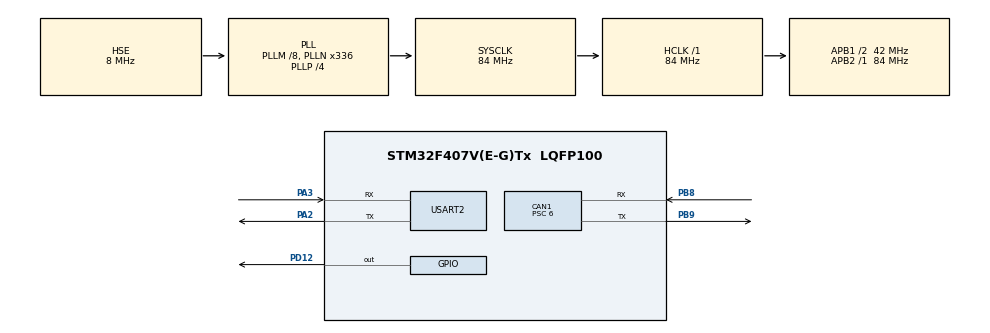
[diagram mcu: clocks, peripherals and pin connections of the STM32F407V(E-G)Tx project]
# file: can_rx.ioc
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CAN1.BS1=CAN_BS1_11TQ
CAN1.BS2=CAN_BS2_2TQ
CAN1.CalculateBaudRate=500000
CAN1.CalculateTimeBit=2000
CAN1.CalculateTimeQuantum=142.85714285714286
CAN1.NART=ENABLE
CAN1.Prescaler=6
Mcu.Family=STM32F4
Mcu.Name=STM32F407V(E-G)Tx
Mcu.Package=LQFP100
NVIC.PriorityGroup=NVIC_PRIORITYGROUP_0
PA2.Mode=Asynchronous
PA2.Signal=USART2_TX
PA3.Mode=Asynchronous
PA3.Signal=USART2_RX
PB8.Mode=CAN_Activate
PB8.Signal=CAN1_RX
PB9.Mode=CAN_Activate
PB9.Signal=CAN1_TX
PD12.Signal=GPIO_Output
PH0-OSC_IN.Mode=HSE-External-Oscillator
PH0-OSC_IN.Signal=RCC_OSC_IN
PH1-OSC_OUT.Mode=HSE-External-Oscillator
PH1-OSC_OUT.Signal=RCC_OSC_OUT
ProjectManager.HeapSize=0x200
ProjectManager.StackSize=0x400
ProjectManager.TargetToolchain=STM32CubeIDE
RCC.48MHZClocksFreq_Value=48000000
RCC.AHBFreq_Value=84000000
RCC.APB1CLKDivider=RCC_HCLK_DIV2
RCC.APB1Freq_Value=42000000
RCC.APB1TimFreq_Value=84000000
RCC.APB2Freq_Value=84000000
RCC.APB2TimFreq_Value=84000000
RCC.CortexFreq_Value=84000000
RCC.HCLKFreq_Value=84000000
RCC.HSE_VALUE=8000000
RCC.HSI_VALUE=16000000
RCC.LSE_VALUE=32768
RCC.PLLM=8
RCC.PLLN=336
RCC.PLLP=RCC_PLLP_DIV4
RCC.PLLQ=7
RCC.PLLSourceVirtual=RCC_PLLSOURCE_HSE
RCC.SYSCLKFreq_VALUE=84000000
RCC.SYSCLKSource=RCC_SYSCLKSOURCE_PLLCLK
RCC.VCOOutputFreq_Value=336000000
USART2.VirtualMode=VM_ASYNC
board=STM32F407G-DISC1

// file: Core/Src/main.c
/* USER CODE BEGIN Header */
/**
  ******************************************************************************
  * @file           : main.c
  * @brief          : Main program body
  ******************************************************************************
  * @attention
  *
  * Copyright (c) 2026 STMicroelectronics.
  * All rights reserved.
  *
  * This software is licensed under terms that can be found in the LICENSE file
  * in the root directory of this software component.
  * If no LICENSE file comes with this software, it is provided AS-IS.
  *
  ******************************************************************************
  */
/* USER CODE END Header */
#include "main.h"

/* USER CODE BEGIN Includes */
#include <stdio.h>
#include <string.h>
/* USER CODE END Includes */

CAN_HandleTypeDef hcan1;

UART_HandleTypeDef huart2;

/* USER CODE BEGIN PV */
CAN_RxHeaderTypeDef RxHeader;
uint8_t RxData[8];

CAN_FilterTypeDef CAN_Filter;

char msg[] = "CAN RX Ready\r\n";

char uartBuffer[100];

uint16_t voltageRaw;
uint16_t currentRaw;
uint16_t tempRaw;

float voltage;
float current;
float temperature;

uint8_t faultCode;
/* USER CODE END PV */

void SystemClock_Config(void);
static void MX_GPIO_Init(void);
static void MX_CAN1_Init(void);
static void MX_USART2_UART_Init(void);

int main(void)
{

  /* MCU Configuration--------------------------------------------------------*/

  /* Reset of all peripherals, Initializes the Flash interface and the Systick. */
  HAL_Init();

  /* Configure the system clock */
  SystemClock_Config();

  /* Initialize all configured peripherals */
  MX_GPIO_Init();
  MX_CAN1_Init();
  MX_USART2_UART_Init();
  /* USER CODE BEGIN 2 */
  CAN_Filter.FilterBank = 0;
  CAN_Filter.FilterMode = CAN_FILTERMODE_IDMASK;
  CAN_Filter.FilterScale = CAN_FILTERSCALE_32BIT;

  CAN_Filter.FilterIdHigh = 0x0000;
  CAN_Filter.FilterIdLow = 0x0000;

  CAN_Filter.FilterMaskIdHigh = 0x0000;
  CAN_Filter.FilterMaskIdLow = 0x0000;

  CAN_Filter.FilterFIFOAssignment = CAN_FILTER_FIFO0;
  CAN_Filter.FilterActivation = ENABLE;

  if (HAL_CAN_ConfigFilter(&hcan1, &CAN_Filter) != HAL_OK)
  {
      Error_Handler();
  }

  /************ Start CAN ************/
  if (HAL_CAN_Start(&hcan1) != HAL_OK)
  {
      Error_Handler();
  }

  /************ UART startup message ************/
  HAL_UART_Transmit(&huart2,
                    (uint8_t*)msg,
                    sizeof(msg)-1,
                    HAL_MAX_DELAY);

  /* USER CODE END 2 */

  /* Infinite loop */
  /* USER CODE BEGIN WHILE */
  while (1)
  {
	  if (HAL_CAN_GetRxFifoFillLevel(&hcan1, CAN_RX_FIFO0) > 0)
	      {
	          HAL_CAN_GetRxMessage(&hcan1,
	                               CAN_RX_FIFO0,
	                               &RxHeader,
	                               RxData);

	          /* Blink LED */
	          HAL_GPIO_TogglePin(GPIOD, GPIO_PIN_12);

	          /* Decode received CAN data */

	          voltageRaw = (RxData[0] << 8) | RxData[1];
	          currentRaw = (RxData[2] << 8) | RxData[3];
	          tempRaw    = (RxData[4] << 8) | RxData[5];

	          faultCode  = RxData[6];

	          /* Convert back to actual values */

	          voltage = voltageRaw / 100.0f;
	          current = currentRaw;
	          temperature = tempRaw / 10.0f;

	          /* Print values */

	          sprintf(uartBuffer,
	                  "Voltage: %.2f V\r\n"
	                  "Current: %.0f mA\r\n"
	                  "Temperature: %.1f C\r\n",
	                  voltage,
	                  current,
	                  temperature);

	          HAL_UART_Transmit(&huart2,
	                            (uint8_t*)uartBuffer,
	                            strlen(uartBuffer),
	                            HAL_MAX_DELAY);

	          /* Print fault */

	          switch(faultCode)
	          {
	          case 0:
	              sprintf(uartBuffer,"Fault : NORMAL\r\n\r\n");
	              break;

	          case 1:
	              sprintf(uartBuffer,"Fault : OVER VOLTAGE\r\n\r\n");
	              break;

	          case 2:
	              sprintf(uartBuffer,"Fault : UNDER VOLTAGE\r\n\r\n");
	              break;

	          case 3:
	              sprintf(uartBuffer,"Fault : OVER CURRENT\r\n\r\n");
	              break;

	          case 4:
	              sprintf(uartBuffer,"Fault : OVER TEMPERATURE\r\n\r\n");
	              break;

	          default:
	              sprintf(uartBuffer,"Fault : UNKNOWN\r\n\r\n");
	              break;
	          }

	          HAL_UART_Transmit(&huart2,
	                            (uint8_t*)uartBuffer,
	                            strlen(uartBuffer),
	                            HAL_MAX_DELAY);
	      }
    /* USER CODE END WHILE */

  }
}

void SystemClock_Config(void)
{
  RCC_OscInitTypeDef RCC_OscInitStruct = {0};
  RCC_ClkInitTypeDef RCC_ClkInitStruct = {0};

  /** Configure the main internal regulator output voltage
  */
  __HAL_RCC_PWR_CLK_ENABLE();
  __HAL_PWR_VOLTAGESCALING_CONFIG(PWR_REGULATOR_VOLTAGE_SCALE1);

  /** Initializes the RCC Oscillators according to the specified parameters
  * in the RCC_OscInitTypeDef structure.
  */
  RCC_OscInitStruct.OscillatorType = RCC_OSCILLATORTYPE_HSE;
  RCC_OscInitStruct.HSEState = RCC_HSE_ON;
  RCC_OscInitStruct.PLL.PLLState = RCC_PLL_ON;
  RCC_OscInitStruct.PLL.PLLSource = RCC_PLLSOURCE_HSE;
  RCC_OscInitStruct.PLL.PLLM = 8;
  RCC_OscInitStruct.PLL.PLLN = 336;
  RCC_OscInitStruct.PLL.PLLP = RCC_PLLP_DIV4;
  RCC_OscInitStruct.PLL.PLLQ = 7;
  if (HAL_RCC_OscConfig(&RCC_OscInitStruct) != HAL_OK)
  {
    Error_Handler();
  }

  /** Initializes the CPU, AHB and APB buses clocks
  */
  RCC_ClkInitStruct.ClockType = RCC_CLOCKTYPE_HCLK|RCC_CLOCKTYPE_SYSCLK
                              |RCC_CLOCKTYPE_PCLK1|RCC_CLOCKTYPE_PCLK2;
  RCC_ClkInitStruct.SYSCLKSource = RCC_SYSCLKSOURCE_PLLCLK;
  RCC_ClkInitStruct.AHBCLKDivider = RCC_SYSCLK_DIV1;
  RCC_ClkInitStruct.APB1CLKDivider = RCC_HCLK_DIV2;
  RCC_ClkInitStruct.APB2CLKDivider = RCC_HCLK_DIV1;

  if (HAL_RCC_ClockConfig(&RCC_ClkInitStruct, FLASH_LATENCY_2) != HAL_OK)
  {
    Error_Handler();
  }
}

static void MX_CAN1_Init(void)
{

  hcan1.Instance = CAN1;
  hcan1.Init.Prescaler = 6;
  hcan1.Init.Mode = CAN_MODE_NORMAL;
  hcan1.Init.SyncJumpWidth = CAN_SJW_1TQ;
  hcan1.Init.TimeSeg1 = CAN_BS1_11TQ;
  hcan1.Init.TimeSeg2 = CAN_BS2_2TQ;
  hcan1.Init.TimeTriggeredMode = DISABLE;
  hcan1.Init.AutoBusOff = DISABLE;
  hcan1.Init.AutoWakeUp = DISABLE;
  hcan1.Init.AutoRetransmission = ENABLE;
  hcan1.Init.ReceiveFifoLocked = DISABLE;
  hcan1.Init.TransmitFifoPriority = DISABLE;
  if (HAL_CAN_Init(&hcan1) != HAL_OK)
  {
    Error_Handler();
  }

}

static void MX_USART2_UART_Init(void)
{

  huart2.Instance = USART2;
  huart2.Init.BaudRate = 115200;
  huart2.Init.WordLength = UART_WORDLENGTH_8B;
  huart2.Init.StopBits = UART_STOPBITS_1;
  huart2.Init.Parity = UART_PARITY_NONE;
  huart2.Init.Mode = UART_MODE_TX_RX;
  huart2.Init.HwFlowCtl = UART_HWCONTROL_NONE;
  huart2.Init.OverSampling = UART_OVERSAMPLING_16;
  if (HAL_UART_Init(&huart2) != HAL_OK)
  {
    Error_Handler();
  }

}

static void MX_GPIO_Init(void)
{
  GPIO_InitTypeDef GPIO_InitStruct = {0};

  /* GPIO Ports Clock Enable */
  __HAL_RCC_GPIOH_CLK_ENABLE();
  __HAL_RCC_GPIOA_CLK_ENABLE();
  __HAL_RCC_GPIOD_CLK_ENABLE();
  __HAL_RCC_GPIOB_CLK_ENABLE();

  /*Configure GPIO pin Output Level */
  HAL_GPIO_WritePin(GPIOD, GPIO_PIN_12, GPIO_PIN_RESET);

  /*Configure GPIO pin : PD12 */
  GPIO_InitStruct.Pin = GPIO_PIN_12;
  GPIO_InitStruct.Mode = GPIO_MODE_OUTPUT_PP;
  GPIO_InitStruct.Pull = GPIO_NOPULL;
  GPIO_InitStruct.Speed = GPIO_SPEED_FREQ_LOW;
  HAL_GPIO_Init(GPIOD, &GPIO_InitStruct);

}

void Error_Handler(void)
{
  __disable_irq();
  while (1)
  {
  }
}
